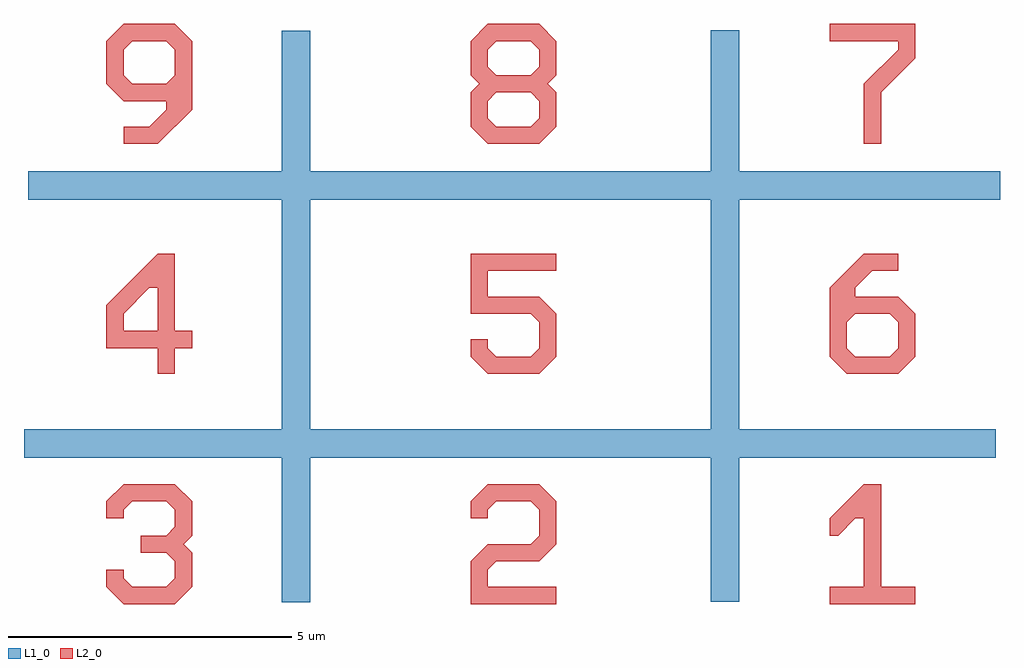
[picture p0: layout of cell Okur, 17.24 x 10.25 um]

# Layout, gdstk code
import gdstk
lib = gdstk.Library(unit=1e-6, precision=1e-09)
def R(c, l, rs):  # rectangles x0, y0, x1, y1
    for r in rs: c.add(gdstk.rectangle(r[:2], r[2:], *l))
def P(c, l, *ps):  # polygons
    for p in ps: c.add(gdstk.Polygon(p, *l))
L1_0 = (1, 0)
L2_0 = (2, 0)

text_8 = lib.new_cell('TEXT$8')
P(text_8, L2_0, [(0.1,0),(0,0.1),(0,0.2),(0.1,0.2),(0.1,0.15),(0.15,0.1),(0.35,0.1),(0.4,0.15),(0.4,0.25),(0.35,0.3),(0.2,0.3),(0.2,0.4),(0.35,0.4),(0.4,0.45),(0.4,0.55),(0.35,0.6),(0.15,0.6),(0.1,0.55),(0.1,0.5),(0,0.5),(0,0.6),(0.1,0.7),(0.4,0.7),(0.5,0.6),(0.5,0.4),(0.45,0.35),(0.5,0.3),(0.5,0.1),(0.4,0)])

text_7 = lib.new_cell('TEXT$7')
P(text_7, L2_0, [(0.1,0),(0,0.1),(0,0.3),(0.05,0.35),(0,0.4),(0,0.6),(0.1,0.7),(0.4,0.7),(0.5,0.6),(0.15,0.6),(0.1,0.55),(0.1,0.45),(0.15,0.4),(0.35,0.4),(0.4,0.45),(0.4,0.55),(0.35,0.6),(0.5,0.6),(0.5,0.4),(0.45,0.35),(0.5,0.3),(0.15,0.3),(0.1,0.25),(0.1,0.15),(0.15,0.1),(0.35,0.1),(0.4,0.15),(0.4,0.25),(0.35,0.3),(0.5,0.3),(0.5,0.1),(0.4,0)])

text_6 = lib.new_cell('TEXT$6')
P(text_6, L2_0, [(0.2,0),(0.2,0.35),(0.4,0.55),(0.4,0.6),(0,0.6),(0,0.7),(0.5,0.7),(0.5,0.5),(0.3,0.3),(0.3,0)])

text_5 = lib.new_cell('TEXT$5')
P(text_5, L2_0, [(0.1,0),(0,0.1),(0,0.5),(0.2,0.7),(0.4,0.7),(0.4,0.6),(0.25,0.6),(0.15,0.5),(0.15,0.45),(0.4,0.45),(0.5,0.35),(0.15,0.35),(0.1,0.3),(0.1,0.15),(0.15,0.1),(0.35,0.1),(0.4,0.15),(0.4,0.3),(0.35,0.35),(0.5,0.35),(0.5,0.1),(0.4,0)])

text_4 = lib.new_cell('TEXT$4')
P(text_4, L2_0, [(0.1,0),(0.1,0.1),(0.25,0.1),(0.35,0.2),(0.35,0.25),(0.1,0.25),(0,0.35),(0.35,0.35),(0.4,0.4),(0.4,0.55),(0.35,0.6),(0.15,0.6),(0.1,0.55),(0.1,0.4),(0.15,0.35),(0,0.35),(0,0.6),(0.1,0.7),(0.4,0.7),(0.5,0.6),(0.5,0.2),(0.3,0)])

text_3 = lib.new_cell('TEXT$3')
P(text_3, L2_0, [(0.1,0),(0,0.1),(0,0.2),(0.1,0.2),(0.1,0.15),(0.15,0.1),(0.35,0.1),(0.4,0.15),(0.4,0.3),(0.35,0.35),(0,0.35),(0,0.7),(0.5,0.7),(0.5,0.6),(0.1,0.6),(0.1,0.45),(0.4,0.45),(0.5,0.35),(0.5,0.1),(0.4,0)])

text_2 = lib.new_cell('TEXT$2')
P(text_2, L2_0, [(0.3,0),(0.3,0.15),(0,0.15),(0,0.25),(0.3,0.25),(0.3,0.5),(0.25,0.5),(0.1,0.35),(0.1,0.25),(0,0.25),(0,0.4),(0.3,0.7),(0.4,0.7),(0.4,0.25),(0.5,0.25),(0.5,0.15),(0.4,0.15),(0.4,0)])

text_1 = lib.new_cell('TEXT$1')
P(text_1, L2_0, [(0,0),(0,0.25),(0.1,0.35),(0.35,0.35),(0.4,0.4),(0.4,0.55),(0.35,0.6),(0.15,0.6),(0.1,0.55),(0.1,0.5),(0,0.5),(0,0.6),(0.1,0.7),(0.4,0.7),(0.5,0.6),(0.5,0.35),(0.4,0.25),(0.15,0.25),(0.1,0.2),(0.1,0.1),(0.5,0.1),(0.5,0)])

text = lib.new_cell('TEXT')
P(text, L2_0, [(0,0),(0,0.1),(0.2,0.1),(0.2,0.5),(0.15,0.5),(0.05,0.4),(0,0.4),(0,0.5),(0.2,0.7),(0.3,0.7),(0.3,0.1),(0.5,0.1),(0.5,0)])

okur = lib.new_cell('Okur')
R(okur, L1_0, [(-69.113,-4.795,-68.608,5.305), (-61.538,-4.785,-61.033,5.315), (-73.668,-2.24,-56.498,-1.735), (-73.597,2.315,-56.427,2.82)])
okur.add(gdstk.Reference(text_8, (-72.213,-4.825), magnification=3.03))
okur.add(gdstk.Reference(text_7, (-65.78,3.305), magnification=3.03))
okur.add(gdstk.Reference(text_6, (-59.437,3.305), magnification=3.03))
okur.add(gdstk.Reference(text_5, (-59.437,-0.755), magnification=3.03))
okur.add(gdstk.Reference(text_4, (-72.213,3.305), magnification=3.03))
okur.add(gdstk.Reference(text_3, (-65.78,-0.755), magnification=3.03))
okur.add(gdstk.Reference(text_2, (-72.213,-0.755), magnification=3.03))
okur.add(gdstk.Reference(text_1, (-65.78,-4.825), magnification=3.03))
okur.add(gdstk.Reference(text, (-59.437,-4.825), magnification=3.03))

lib.write_gds('Okur.gds')
